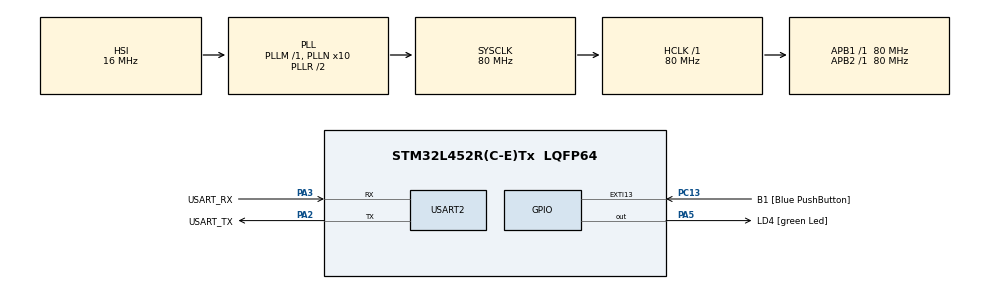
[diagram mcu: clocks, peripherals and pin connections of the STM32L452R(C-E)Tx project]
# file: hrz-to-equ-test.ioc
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Mcu.Family=STM32L4
Mcu.Name=STM32L452R(C-E)Tx
Mcu.Package=LQFP64
NVIC.PriorityGroup=NVIC_PRIORITYGROUP_4
PA13\ (JTMS/SWDIO).GPIO_Label=TMS
PA13\ (JTMS/SWDIO).Mode=Serial_Wire
PA13\ (JTMS/SWDIO).Signal=SYS_JTMS-SWDIO
PA14\ (JTCK/SWCLK).GPIO_Label=TCK
PA14\ (JTCK/SWCLK).Mode=Serial_Wire
PA14\ (JTCK/SWCLK).Signal=SYS_JTCK-SWCLK
PA2.GPIO_Label=USART_TX
PA2.GPIO_Mode=GPIO_MODE_AF_PP
PA2.GPIO_PuPd=GPIO_NOPULL
PA2.GPIO_Speed=GPIO_SPEED_FREQ_VERY_HIGH
PA2.Mode=Asynchronous
PA2.Signal=USART2_TX
PA3.GPIO_Label=USART_RX
PA3.GPIO_Mode=GPIO_MODE_AF_PP
PA3.GPIO_PuPd=GPIO_NOPULL
PA3.GPIO_Speed=GPIO_SPEED_FREQ_VERY_HIGH
PA3.Mode=Asynchronous
PA3.Signal=USART2_RX
PA5.GPIO_Label=LD4 [green Led]
PA5.GPIO_ModeDefaultOutputPP=GPIO_MODE_OUTPUT_PP
PA5.GPIO_PuPd=GPIO_NOPULL
PA5.GPIO_Speed=GPIO_SPEED_FREQ_LOW
PA5.Signal=GPIO_Output
PB3\ (JTDO/TRACESWO).GPIO_Label=SWO
PB3\ (JTDO/TRACESWO).Signal=SYS_JTDO-SWO
PC13.GPIO_Label=B1 [Blue PushButton]
PC13.GPIO_ModeDefaultEXTI=GPIO_MODE_IT_FALLING
PC13.GPIO_PuPd=GPIO_NOPULL
PC13.Signal=GPXTI13
PC14-OSC32_IN\ (PC14).Mode=LSE-External-Oscillator
PC14-OSC32_IN\ (PC14).Signal=RCC_OSC32_IN
PC15-OSC32_OUT\ (PC15).Mode=LSE-External-Oscillator
PC15-OSC32_OUT\ (PC15).Signal=RCC_OSC32_OUT
PH0-OSC_IN\ (PH0).Signal=RCC_OSC_IN
PH1-OSC_OUT\ (PH1).Signal=RCC_OSC_OUT
ProjectManager.HeapSize=0x200
ProjectManager.StackSize=0x400
ProjectManager.TargetToolchain=STM32CubeIDE
RCC.ADCFreq_Value=64000000
RCC.AHBFreq_Value=80000000
RCC.APB1Freq_Value=80000000
RCC.APB1TimFreq_Value=80000000
RCC.APB2Freq_Value=80000000
RCC.APB2TimFreq_Value=80000000
RCC.CortexFreq_Value=80000000
RCC.HCLKFreq_Value=80000000
RCC.HSE_VALUE=8000000
RCC.HSI48_VALUE=48000000
RCC.HSI_VALUE=16000000
RCC.MSI_VALUE=4000000
RCC.PLLN=10
RCC.PLLSourceVirtual=RCC_PLLSOURCE_HSI
RCC.PREFETCH_ENABLE=1
RCC.SYSCLKFreq_VALUE=80000000
RCC.SYSCLKSource=RCC_SYSCLKSOURCE_PLLCLK
RCC.USBFreq_Value=64000000
RCC.VCOOutputFreq_Value=160000000
USART2.VirtualMode-Asynchronous=VM_ASYNC
board=NUCLEO-L452RE

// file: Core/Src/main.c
/* USER CODE BEGIN Header */
/**
  ******************************************************************************
  * @file           : main.c
  * @brief          : Main program body
  ******************************************************************************
  * @attention
  *
  * Copyright (c) 2023 STMicroelectronics.
  * All rights reserved.
  *
  * This software is licensed under terms that can be found in the LICENSE file
  * in the root directory of this software component.
  * If no LICENSE file comes with this software, it is provided AS-IS.
  *
  ******************************************************************************
  * Date complete: Jun 13, 2023
  * Celine Kwan
  * Testing if libnova horizontal to equatorial coordinate code works - .h and .c files
  * SUCCESS
  */
/* USER CODE END Header */
#include "main.h"

/* USER CODE BEGIN Includes */

// libnova ************************************
#include <libnova/ln_types.h>
#include <libnova/julian_day.h>
#include <libnova/transform.h>
#include <libnova/utility.h>

/* USER CODE END Includes */

UART_HandleTypeDef huart2;

void SystemClock_Config(void);
static void MX_GPIO_Init(void);
static void MX_USART2_UART_Init(void);

int main(void)
{

  /* MCU Configuration--------------------------------------------------------*/

  /* Reset of all peripherals, Initializes the Flash interface and the Systick. */
  HAL_Init();

  /* Configure the system clock */
  SystemClock_Config();

  /* Initialize all configured peripherals */
  MX_GPIO_Init();
  MX_USART2_UART_Init();
  /* USER CODE BEGIN 2 */

	struct lnh_equ_posn hobject, hequ;
	struct lnh_lnlat_posn hobserver;
	struct ln_equ_posn object, equ;
	struct ln_hrz_posn hrz;
	struct lnh_hrz_posn hhrz;
	struct ln_lnlat_posn observer;
	double JD;
	struct ln_date date;

	/*
	* observers position
	* longitude is measured positively eastwards
	* i.e. Long 5d36m30W (Leon, Spain) = 354d24m30
	* Lat for Leon = Lat 42d35m40 N
	*/

	/*
	 * Bahen
	 * lat: 43.659822
	 * lng: -79.397056
	 * DMS lat: 43° 39' 35.3592'' N
	 * DMS lng: 79° 23' 49.4016'' W
	 */
	hobserver.lng.neg = 1; //1
	hobserver.lng.degrees = 79; //-79
	hobserver.lng.minutes = 23; //-14
	hobserver.lng.seconds = 54; //-16
	hobserver.lat.neg = 0; //0
	hobserver.lat.degrees = 43; //43
	hobserver.lat.minutes = 39; //23
	hobserver.lat.seconds = 35; //44

	/* Alnilam
	 * RA: 05h 36m 12s
	 * DEC: -01° 12' 06"
	 */
	hobject.ra.hours = 5;
	hobject.ra.minutes = 36;
	hobject.ra.seconds = 12;
	hobject.dec.neg = 1;
	hobject.dec.degrees = 1;
	hobject.dec.minutes = 12;
	hobject.dec.seconds = 6;

	/* UT date and time */
	date.years = 2023;
	date.months = 6;
	date.days = 13;
	date.hours = 21;
	date.minutes = 6;
	date.seconds = 45;

	JD = ln_get_julian_day (&date);
	ln_hequ_to_equ (&hobject, &object);
	ln_hlnlat_to_lnlat (&hobserver, &observer);

	ln_get_hrz_from_equ (&object, &observer, JD, &hrz);
	ln_hrz_to_hhrz(&hrz, &hhrz);

	ln_get_equ_from_hrz (&hrz, &observer, JD, &equ); // <-- check this

	/* random code */
	int count = 0;
	for (int i=0; i<5;i++) {
	  count++;
	}

  /* USER CODE END 2 */

  /* Infinite loop */
  while (1)
  {

  }
}

void SystemClock_Config(void)
{
  RCC_OscInitTypeDef RCC_OscInitStruct = {0};
  RCC_ClkInitTypeDef RCC_ClkInitStruct = {0};

  /** Configure the main internal regulator output voltage
  */
  if (HAL_PWREx_ControlVoltageScaling(PWR_REGULATOR_VOLTAGE_SCALE1) != HAL_OK)
  {
    Error_Handler();
  }

  /** Initializes the RCC Oscillators according to the specified parameters
  * in the RCC_OscInitTypeDef structure.
  */
  RCC_OscInitStruct.OscillatorType = RCC_OSCILLATORTYPE_HSI;
  RCC_OscInitStruct.HSIState = RCC_HSI_ON;
  RCC_OscInitStruct.HSICalibrationValue = RCC_HSICALIBRATION_DEFAULT;
  RCC_OscInitStruct.PLL.PLLState = RCC_PLL_ON;
  RCC_OscInitStruct.PLL.PLLSource = RCC_PLLSOURCE_HSI;
  RCC_OscInitStruct.PLL.PLLM = 1;
  RCC_OscInitStruct.PLL.PLLN = 10;
  RCC_OscInitStruct.PLL.PLLP = RCC_PLLP_DIV7;
  RCC_OscInitStruct.PLL.PLLQ = RCC_PLLQ_DIV2;
  RCC_OscInitStruct.PLL.PLLR = RCC_PLLR_DIV2;
  if (HAL_RCC_OscConfig(&RCC_OscInitStruct) != HAL_OK)
  {
    Error_Handler();
  }

  /** Initializes the CPU, AHB and APB buses clocks
  */
  RCC_ClkInitStruct.ClockType = RCC_CLOCKTYPE_HCLK|RCC_CLOCKTYPE_SYSCLK
                              |RCC_CLOCKTYPE_PCLK1|RCC_CLOCKTYPE_PCLK2;
  RCC_ClkInitStruct.SYSCLKSource = RCC_SYSCLKSOURCE_PLLCLK;
  RCC_ClkInitStruct.AHBCLKDivider = RCC_SYSCLK_DIV1;
  RCC_ClkInitStruct.APB1CLKDivider = RCC_HCLK_DIV1;
  RCC_ClkInitStruct.APB2CLKDivider = RCC_HCLK_DIV1;

  if (HAL_RCC_ClockConfig(&RCC_ClkInitStruct, FLASH_LATENCY_4) != HAL_OK)
  {
    Error_Handler();
  }
}

static void MX_USART2_UART_Init(void)
{

  huart2.Instance = USART2;
  huart2.Init.BaudRate = 115200;
  huart2.Init.WordLength = UART_WORDLENGTH_8B;
  huart2.Init.StopBits = UART_STOPBITS_1;
  huart2.Init.Parity = UART_PARITY_NONE;
  huart2.Init.Mode = UART_MODE_TX_RX;
  huart2.Init.HwFlowCtl = UART_HWCONTROL_NONE;
  huart2.Init.OverSampling = UART_OVERSAMPLING_16;
  huart2.Init.OneBitSampling = UART_ONE_BIT_SAMPLE_DISABLE;
  huart2.AdvancedInit.AdvFeatureInit = UART_ADVFEATURE_NO_INIT;
  if (HAL_UART_Init(&huart2) != HAL_OK)
  {
    Error_Handler();
  }

}

static void MX_GPIO_Init(void)
{
  GPIO_InitTypeDef GPIO_InitStruct = {0};

  /* GPIO Ports Clock Enable */
  __HAL_RCC_GPIOC_CLK_ENABLE();
  __HAL_RCC_GPIOH_CLK_ENABLE();
  __HAL_RCC_GPIOA_CLK_ENABLE();
  __HAL_RCC_GPIOB_CLK_ENABLE();

  /*Configure GPIO pin Output Level */
  HAL_GPIO_WritePin(LD4_GPIO_Port, LD4_Pin, GPIO_PIN_RESET);

  /*Configure GPIO pin : B1_Pin */
  GPIO_InitStruct.Pin = B1_Pin;
  GPIO_InitStruct.Mode = GPIO_MODE_IT_FALLING;
  GPIO_InitStruct.Pull = GPIO_NOPULL;
  HAL_GPIO_Init(B1_GPIO_Port, &GPIO_InitStruct);

  /*Configure GPIO pin : LD4_Pin */
  GPIO_InitStruct.Pin = LD4_Pin;
  GPIO_InitStruct.Mode = GPIO_MODE_OUTPUT_PP;
  GPIO_InitStruct.Pull = GPIO_NOPULL;
  GPIO_InitStruct.Speed = GPIO_SPEED_FREQ_LOW;
  HAL_GPIO_Init(LD4_GPIO_Port, &GPIO_InitStruct);

}

void Error_Handler(void)
{
  __disable_irq();
  while (1)
  {
  }
}
